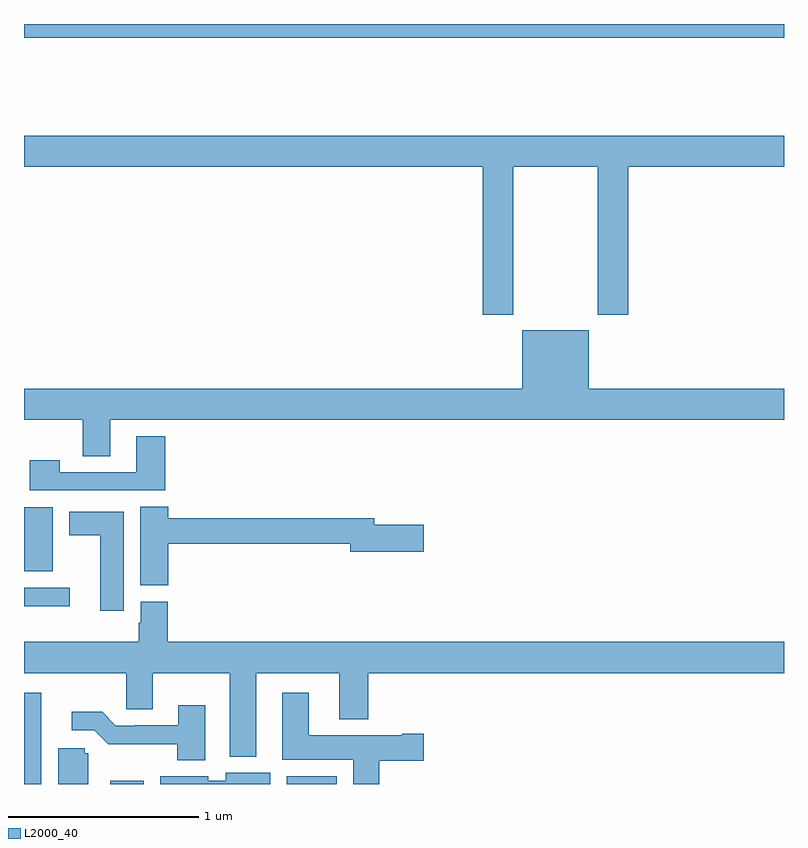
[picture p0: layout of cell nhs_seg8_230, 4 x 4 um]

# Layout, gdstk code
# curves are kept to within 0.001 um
import gdstk
lib = gdstk.Library(unit=1e-6, precision=1e-09)
def R(c, l, rs):  # rectangles x0, y0, x1, y1
    for r in rs: c.add(gdstk.rectangle(r[:2], r[2:], *l))
def P(c, l, *ps):  # polygons
    for p in ps: c.add(gdstk.Polygon(p, *l))
L2000_40 = (2000, 40)

nhs_seg8_230 = lib.new_cell('nhs_seg8_230')
R(nhs_seg8_230, L2000_40, [(125.454,1131.9,125.631,1131.916), (126.383,1131.9,126.646,1131.94), (125,1132.835,125.242,1132.932), (125,1133.021,125.152,1133.356), (125,1135.828,129,1135.9)])
P(nhs_seg8_230, L2000_40, [(127.575,1135.148),(128.02,1135.148),(128.02,1134.369),(128.18,1134.369),(128.18,1135.148),(129,1135.148),(129,1135.312),(125,1135.312),(125,1135.148),(127.415,1135.148),(127.415,1134.369),(127.575,1134.369)],
  [(125.455,1133.816),(129,1133.816),(129,1133.98),(127.972,1133.98),(127.972,1134.289),(127.622,1134.289),(127.622,1133.98),(125,1133.98),(125,1133.816),(125.308,1133.816),(125.308,1133.626),(125.455,1133.626)],
  [(125.744,1133.731),(125.591,1133.731),(125.591,1133.541),(125.187,1133.541),(125.187,1133.605),(125.031,1133.605),(125.031,1133.445),(125.744,1133.445)],
  [(125.759,1133.164),(126.716,1133.164),(126.716,1133.122),(127.105,1133.122),(127.105,1133.264),(126.844,1133.264),(126.844,1133.3),(125.759,1133.3),(125.759,1133.36),(125.612,1133.36),(125.612,1132.945),(125.759,1132.945)],
  [(125.524,1133.332),(125.237,1133.332),(125.237,1133.21),(125.402,1133.21),(125.402,1132.812),(125.524,1132.812)],
  [(126.223,1132.484),(126.659,1132.484),(126.659,1132.241),(126.812,1132.241),(126.812,1132.484),(129,1132.484),(129,1132.648),(125.756,1132.648),(125.756,1132.86),(125.615,1132.86),(125.615,1132.749),(125.603,1132.749),(125.603,1132.648),(125,1132.648),(125,1132.484),(125.538,1132.484),(125.538,1132.294),(125.677,1132.294),(125.677,1132.484),(126.083,1132.484),(126.083,1132.043),(126.223,1132.043)],
  [(126.869,1132.022),(127.105,1132.022),(127.105,1132.164),(126.992,1132.164),(126.992,1132.156),(126.499,1132.156),(126.499,1132.381),(126.359,1132.381),(126.359,1132.028),(126.734,1132.028),(126.734,1131.9),(126.869,1131.9)],
  [(125.091,1132.132),(125.092,1132.132),(125.092,1132.381),(125,1132.381),(125,1131.9),(125.091,1131.9)],
  [(125.953,1132.315),(125.813,1132.315),(125.813,1132.209),(125.584,1132.209),(125.584,1132.206),(125.484,1132.206),(125.411,1132.279),(125.25,1132.279),(125.25,1132.182),(125.37,1132.182),(125.443,1132.109),(125.806,1132.11),(125.806,1132.025),(125.953,1132.025)],
  [(125.338,1132.062),(125.319,1132.062),(125.319,1132.089),(125.18,1132.089),(125.18,1131.9),(125.338,1131.9)],
  [(126.295,1131.958),(126.062,1131.958),(126.062,1131.916),(125.97,1131.916),(125.97,1131.94),(125.716,1131.94),(125.716,1131.9),(126.295,1131.9)])

lib.write_gds('nhs_seg8_230.gds')
